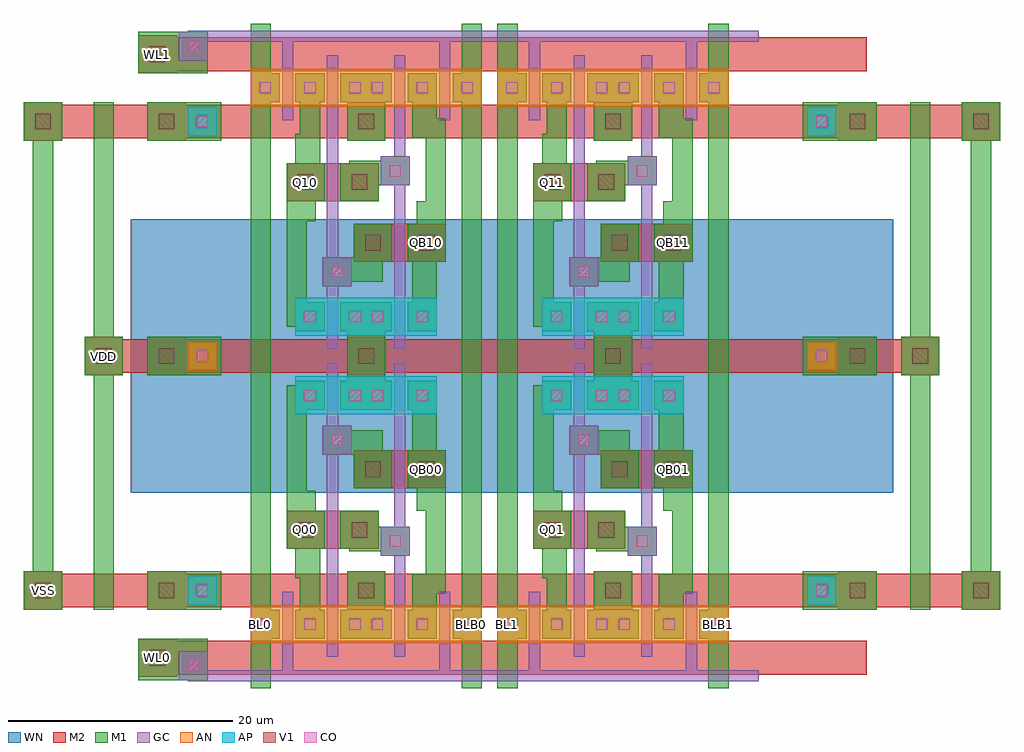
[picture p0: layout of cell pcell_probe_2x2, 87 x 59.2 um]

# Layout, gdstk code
import gdstk
lib = gdstk.Library(unit=1e-6, precision=5e-08)
def R(c, l, rs):  # rectangles x0, y0, x1, y1
    for r in rs: c.add(gdstk.rectangle(r[:2], r[2:], *l))
def A(c, l, x, y, w, h, nx, ny, dx, dy):  # array of equal rectangles
    R(c, l, [(x+i*dx, y+j*dy, x+i*dx+w, y+j*dy+h) for i in range(nx) for j in range(ny)])
AP = (3, 1)
AN = (3, 2)
GC = (8, 1)
CO = (11, 0)
M1 = (13, 0)
V1 = (19, 0)
M2 = (20, 0)
WN = (140, 0)

fet_n = lib.new_cell('fet_n')
R(fet_n, AN, [(-3.3,-1.7,3.3,1.7)])
R(fet_n, CO, [(-2.5,-0.5,-1.5,0.5), (1.5,-0.5,2.5,0.5)])
R(fet_n, M1, [(-3.3,-1.3,-0.7,1.3), (0.7,-1.3,3.3,1.3)])
fet_n.add(gdstk.FlexPath([(0,-2.9),(0,2.9)], 1, ends="flush", simple_path=True, layer=8, datatype=1))  # GC

fet_p = lib.new_cell('fet_p')
R(fet_p, AP, [(-3.3,-1.7,3.3,1.7)])
R(fet_p, CO, [(-2.5,-0.5,-1.5,0.5), (1.5,-0.5,2.5,0.5)])
R(fet_p, M1, [(-3.3,-1.3,-0.7,1.3), (0.7,-1.3,3.3,1.3)])
fet_p.add(gdstk.FlexPath([(0,-2.9),(0,2.9)], 1, ends="flush", simple_path=True, layer=8, datatype=1))  # GC

via_1 = lib.new_cell('via_1')
R(via_1, M1, [(-1.7,-1.7,1.7,1.7)])
R(via_1, V1, [(-0.7,-0.7,0.7,0.7)])
R(via_1, M2, [(-1.7,-1.7,1.7,1.7)])

cont_g = lib.new_cell('cont_g')
R(cont_g, GC, [(-1.3,-1.3,1.3,1.3)])
R(cont_g, CO, [(-0.5,-0.5,0.5,0.5)])
R(cont_g, M1, [(-1.3,-1.3,1.3,1.3)])

pcell_core = lib.new_cell('pcell_core')
R(pcell_core, GC, [(0,-5.1,22,-4.1), (1.5,-5.1,2.5,-2.4), (15.5,-5.1,16.5,-2.4), (5.5,2.4,6.5,18), (11.5,2.4,12.5,18), (11.1,6.9,12.5,7.9), (5.5,15.9,6.9,16.9)])
R(pcell_core, M1, [(-1.3,-5.7,0.5,23.9), (17.5,-5.7,19.3,23.9), (3.1,-0.9,4.9,5.9), (8.1,-0.9,9.9,3.9), (13.1,-0.9,14.9,4.5), (14.9,1.3,15.3,2.7), (13.1,2.7,16.1,4.5), (14.3,2.7,16.1,11.9), (2.7,4.1,4.9,5.9), (2.7,4.1,4.5,11.9), (4.5,5.9,4.9,6.7), (7.5,6.5,9.3,9.3), (7.5,6.5,12.5,8.3), (10.1,8.3,10.3,8.7), (1.9,10.1,4.5,11.9), (1.9,10.1,3.7,21.3), (13.5,10.1,16.1,11.9), (13.5,10.1,15.3,18.7), (15.3,11.9,16.1,12.1), (8.7,12.9,10.5,17.3), (7.7,15.1,7.9,15.5), (5.5,15.5,10.5,17.3), (13.1,15.5,13.5,16.9), (13.1,16.9,15.3,18.7), (13.1,16.9,14.9,21.3), (14.9,18.7,15.3,19.1), (1.9,19.5,4.9,21.3), (8.1,19.5,9.9,24.8), (7.3,21.7,8.1,22.2), (9.9,21.7,10.7,22.2)])
R(pcell_core, M2, [(0,-4.5,22,-1.5), (0,1.5,22,4.5), (1.9,6.7,10.1,10.1), (7.9,12.1,16.1,15.5), (0,22.4,22,25.4)])
R(pcell_core, WN, [(-3.5,11.7,25.5,29.1)])
pcell_core.add(gdstk.Reference(fet_n, (2,0)))
pcell_core.add(gdstk.Reference(fet_n, (6,0)))
pcell_core.add(gdstk.Reference(fet_n, (12,0)))
pcell_core.add(gdstk.Reference(fet_n, (16,0)))
pcell_core.add(gdstk.Reference(fet_p, (6,20.4)))
pcell_core.add(gdstk.Reference(fet_p, (12,20.4)))
pcell_core.add(gdstk.Reference(via_1, (9,3)))
pcell_core.add(gdstk.Reference(via_1, (9,23.9)))
pcell_core.add(gdstk.Reference(via_1, (3.6,8.4)))
pcell_core.add(gdstk.Reference(via_1, (8.4,8.4)))
pcell_core.add(gdstk.Reference(cont_g, (11.6,7.4)))
pcell_core.add(gdstk.Reference(via_1, (14.4,13.8)))
pcell_core.add(gdstk.Reference(via_1, (9.6,13.8)))
pcell_core.add(gdstk.Reference(cont_g, (6.4,16.4)))

cont_n = lib.new_cell('cont_n')
R(cont_n, AN, [(-1.3,-1.3,1.3,1.3)])
R(cont_n, CO, [(-0.5,-0.5,0.5,0.5)])
R(cont_n, M1, [(-1.3,-1.3,1.3,1.3)])

cont_p = lib.new_cell('cont_p')
R(cont_p, AP, [(-1.3,-1.3,1.3,1.3)])
R(cont_p, CO, [(-0.5,-0.5,0.5,0.5)])
R(cont_p, M1, [(-1.3,-1.3,1.3,1.3)])

pcell_probe_2x2 = lib.new_cell('pcell_probe_2x2')
R(pcell_probe_2x2, GC, [(-6.9,0.6,-5.9,2.5), (-6.4,0.6,0,1.6), (-6.9,56.7,-5.9,58.6), (-6.4,57.6,0,58.6)])
A(pcell_probe_2x2, M1, -10.5, 7, 6.6, 3.4, 1, 3, 0, 20.9)
A(pcell_probe_2x2, M1, 47.9, 7, 6.6, 3.4, 1, 3, 0, 20.9)
R(pcell_probe_2x2, M1, [(-11.3,0.7,-5.1,4.4), (-20.7,7,-18.9,52.2), (-15.3,7,-13.5,52.2), (57.5,7,59.3,52.2), (62.9,7,64.7,52.2), (-11.3,54.8,-5.1,58.5)])
R(pcell_probe_2x2, M2, [(-9.6,1.2,53.6,4.2), (-21.5,7.2,45.7,10.2), (-1.7,7.2,65.5,10.2), (-16.1,28.1,45.7,31.1), (-1.7,28.1,60.1,31.1), (-21.5,49,45.7,52), (-1.7,49,65.5,52), (-9.6,55,53.6,58)])
R(pcell_probe_2x2, WN, [(-12,17.4,56,41.8), (0,17.4,56,41.8)])
pcell_probe_2x2.add(gdstk.Reference(pcell_core, (0,5.7)))
pcell_probe_2x2.add(gdstk.Reference(pcell_core, (22,5.7)))
pcell_probe_2x2.add(gdstk.Reference(cont_g, (-6.4,2)))
pcell_probe_2x2.add(gdstk.Reference(via_1, (-9.6,2.7)))
pcell_probe_2x2.add(gdstk.Reference(pcell_core, (0,53.5), x_reflection=True))
pcell_probe_2x2.add(gdstk.Reference(pcell_core, (22,53.5), x_reflection=True))
pcell_probe_2x2.add(gdstk.Reference(cont_g, (-6.4,57.2)))
pcell_probe_2x2.add(gdstk.Reference(via_1, (-9.6,56.5)))
pcell_probe_2x2.add(gdstk.Reference(cont_n, (-5.6,29.6)))
pcell_probe_2x2.add(gdstk.Reference(via_1, (-8.8,29.6)))
pcell_probe_2x2.add(gdstk.Reference(via_1, (-14.4,29.6)))
pcell_probe_2x2.add(gdstk.Reference(cont_p, (-5.6,8.7)))
pcell_probe_2x2.add(gdstk.Reference(via_1, (-8.8,8.7)))
pcell_probe_2x2.add(gdstk.Reference(via_1, (-19.8,8.7)))
pcell_probe_2x2.add(gdstk.Reference(cont_p, (-5.6,50.5)))
pcell_probe_2x2.add(gdstk.Reference(via_1, (-8.8,50.5)))
pcell_probe_2x2.add(gdstk.Reference(via_1, (-19.8,50.5)))
pcell_probe_2x2.add(gdstk.Reference(cont_n, (49.6,29.6)))
pcell_probe_2x2.add(gdstk.Reference(via_1, (52.8,29.6)))
pcell_probe_2x2.add(gdstk.Reference(via_1, (58.4,29.6)))
pcell_probe_2x2.add(gdstk.Reference(cont_p, (49.6,8.7)))
pcell_probe_2x2.add(gdstk.Reference(via_1, (52.8,8.7)))
pcell_probe_2x2.add(gdstk.Reference(via_1, (63.8,8.7)))
pcell_probe_2x2.add(gdstk.Reference(cont_p, (49.6,50.5)))
pcell_probe_2x2.add(gdstk.Reference(via_1, (52.8,50.5)))
pcell_probe_2x2.add(gdstk.Reference(via_1, (63.8,50.5)))
pcell_probe_2x2.add(gdstk.Label('WL0', (-9.6,2.7), layer=49, texttype=0))
pcell_probe_2x2.add(gdstk.Label('WL1', (-9.6,56.5), layer=49, texttype=0))
pcell_probe_2x2.add(gdstk.Label('Q00', (3.6,14.1), layer=48, texttype=0))
pcell_probe_2x2.add(gdstk.Label('QB00', (14.4,19.5), layer=48, texttype=0))
pcell_probe_2x2.add(gdstk.Label('Q01', (25.6,14.1), layer=48, texttype=0))
pcell_probe_2x2.add(gdstk.Label('QB01', (36.4,19.5), layer=48, texttype=0))
pcell_probe_2x2.add(gdstk.Label('Q10', (3.6,45.1), layer=48, texttype=0))
pcell_probe_2x2.add(gdstk.Label('QB10', (14.4,39.7), layer=48, texttype=0))
pcell_probe_2x2.add(gdstk.Label('Q11', (25.6,45.1), layer=48, texttype=0))
pcell_probe_2x2.add(gdstk.Label('QB11', (36.4,39.7), layer=48, texttype=0))
pcell_probe_2x2.add(gdstk.Label('VDD', (-14.4,29.6), layer=48, texttype=0))
pcell_probe_2x2.add(gdstk.Label('VSS', (-19.8,8.7), layer=48, texttype=0))
pcell_probe_2x2.add(gdstk.Label('BL0', (-0.4,5.7), layer=48, texttype=0))
pcell_probe_2x2.add(gdstk.Label('BLB0', (18.4,5.7), layer=48, texttype=0))
pcell_probe_2x2.add(gdstk.Label('BL1', (21.6,5.7), layer=48, texttype=0))
pcell_probe_2x2.add(gdstk.Label('BLB1', (40.4,5.7), layer=48, texttype=0))

lib.write_gds('pcell_probe_2x2.gds')
